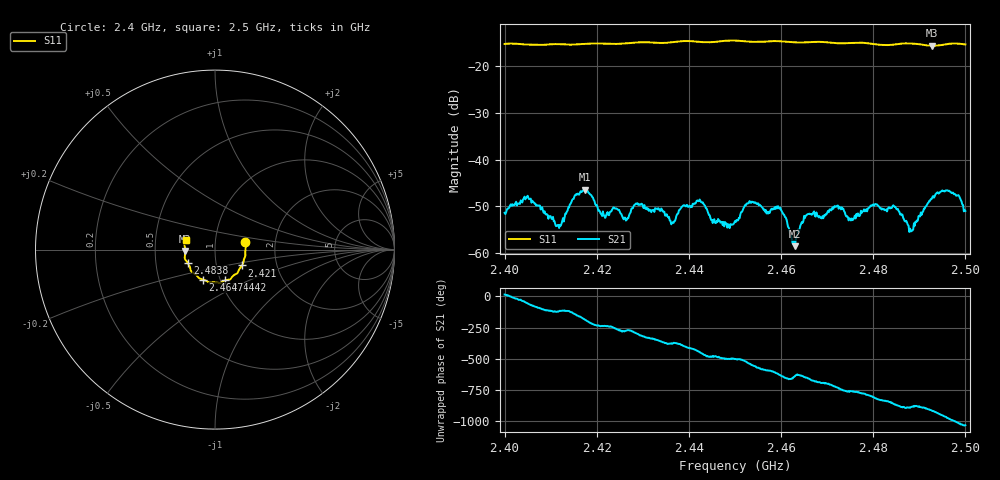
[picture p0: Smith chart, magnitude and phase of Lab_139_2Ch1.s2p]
# Hz S RI R 50
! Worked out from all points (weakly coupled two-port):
!   601 points, 2.4 GHz to 2.5 GHz, reference 50 ohm
!   highest |S21| = -46.48 dB at 2.4175 GHz (marker M1); lowest = -58.6 dB at 2.463 GHz (marker M2)
!   lowest |S11| = -15.6 dB at 2.4927 GHz (marker M3), VSWR 1.40, Z = 35.8 - j0.515 ohm
!   |S11| at or under -10 dB: start of sweep to end of sweep
!   S12 and S22 are empty: the file has one direction only
!   S11 on the Smith chart (normalised r, x): 2.4 GHz: 1.40, +0.12; 2.421 GHz: 1.33, -0.24; 2.4442 GHz: 1.05, -0.37; 2.4647 GHz: 0.83, -0.29; 2.4838 GHz: 0.73, -0.11; 2.5 GHz: 0.72, +0.08
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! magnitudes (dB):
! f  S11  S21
! 2.4 GHz  -15.2  -51.4
! 2.4052 GHz  -15.4  -48.3
! 2.4117 GHz  -15.3  -54.0
! 2.4167 GHz  -15.3  -47.0
! 2.4175 GHz  -15.2  -46.5
! 2.421 GHz  -15.1  -51.7
! 2.4333 GHz  -15.0  -50.4
! 2.4365 GHz  -14.8  -53.4
! 2.442 GHz  -14.8  -48.9
! 2.4442 GHz  -14.9  -51.4
! 2.45 GHz  -14.5  -53.2
! 2.4532 GHz  -14.7  -48.9
! 2.4595 GHz  -14.6  -50.3
! 2.463 GHz  -14.9  -58.6
! 2.4647 GHz  -14.9  -53.6
! 2.4667 GHz  -14.8  -51.8
! 2.4833 GHz  -15.5  -50.3
! 2.4838 GHz  -15.4  -50.4
! 2.4882 GHz  -15.1  -55.4
! 2.4927 GHz  -15.6  -48.5
! 2.4963 GHz  -15.2  -46.7
! 2.5 GHz  -15.3  -51.0
